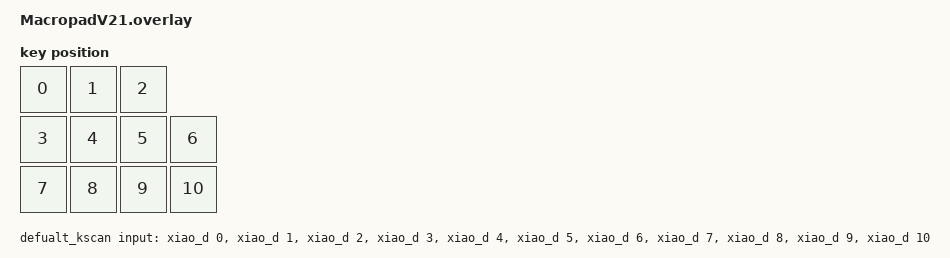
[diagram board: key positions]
#include <physical_layouts.dtsi>
/ {
    chosen {
        zmk,kscan = &defualt_kscan;
    };

    defualt_kscan: kscan {
        compatible = "zmk,kscan-gpio-direct";
        label = "defualt_kscan";
        wakeup-source;


        input-gpios =
        <&xiao_d 0 (GPIO_ACTIVE_LOW | GPIO_PULL_UP)>,
        <&xiao_d 1 (GPIO_ACTIVE_LOW | GPIO_PULL_UP)>,
        <&xiao_d 2 (GPIO_ACTIVE_LOW | GPIO_PULL_UP)>,
        <&xiao_d 3 (GPIO_ACTIVE_LOW | GPIO_PULL_UP)>,
        <&xiao_d 4 (GPIO_ACTIVE_LOW | GPIO_PULL_UP)>,
        <&xiao_d 5 (GPIO_ACTIVE_LOW | GPIO_PULL_UP)>,
        <&xiao_d 6 (GPIO_ACTIVE_LOW | GPIO_PULL_UP)>,
        <&xiao_d 7 (GPIO_ACTIVE_LOW | GPIO_PULL_UP)>,
        <&xiao_d 8 (GPIO_ACTIVE_LOW | GPIO_PULL_UP)>,
        <&xiao_d 9 (GPIO_ACTIVE_LOW | GPIO_PULL_UP)>,
        <&xiao_d 10 (GPIO_ACTIVE_LOW | GPIO_PULL_UP)>
        ;

        keys  //                    w   h    x    y     rot    rx    ry
            = <&key_physical_attrs 100 100  400    0       0     0     0>
            , <&key_physical_attrs 100 100  500    0       0     0     0>
            , <&key_physical_attrs 100 100  600    0       0     0     0>
            , <&key_physical_attrs 100 100  400  100       0     0     0>
            , <&key_physical_attrs 100 100  500  100       0     0     0>
            , <&key_physical_attrs 100 100  600  100       0     0     0>
            , <&key_physical_attrs 100 100  700  100       0     0     0>
            , <&key_physical_attrs 100 100  400  200       0     0     0>
            , <&key_physical_attrs 100 100  500  200       0     0     0>
            , <&key_physical_attrs 100 100  600  200       0     0     0>
            , <&key_physical_attrs 100 100  700  200       0     0     0>
            ;

    };



};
